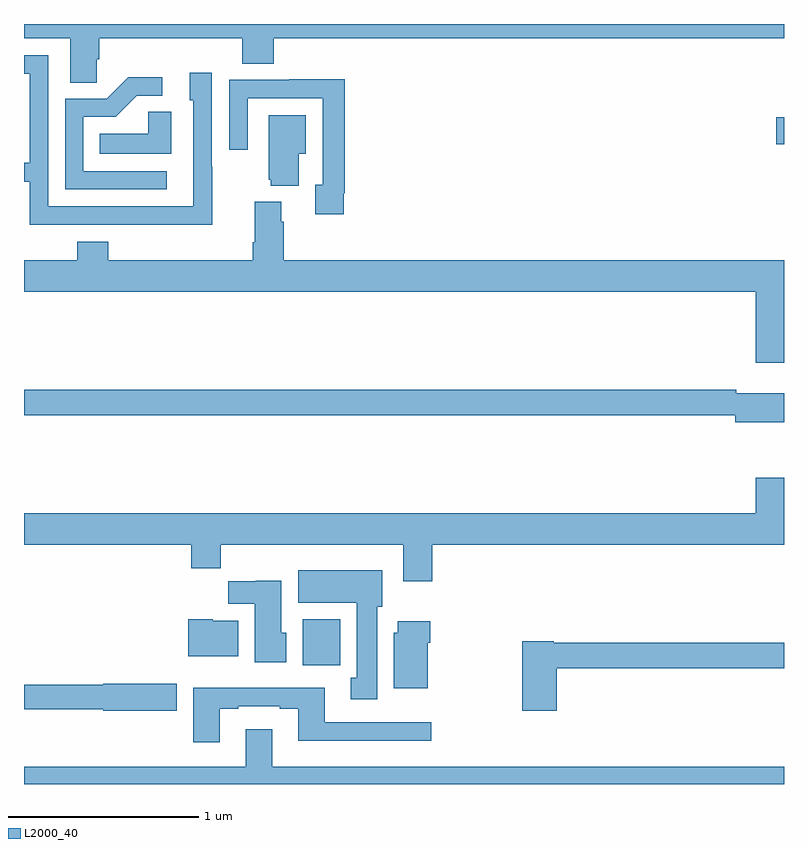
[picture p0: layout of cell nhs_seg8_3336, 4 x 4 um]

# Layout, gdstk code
import gdstk
lib = gdstk.Library(unit=1e-6, precision=1e-09)
def R(c, l, rs):  # rectangles x0, y0, x1, y1
    for r in rs: c.add(gdstk.rectangle(r[:2], r[2:], *l))
def P(c, l, *ps):  # polygons
    for p in ps: c.add(gdstk.Polygon(p, *l))
L2000_40 = (2000, 40)

nhs_seg8_3336 = lib.new_cell('nhs_seg8_3336')
R(nhs_seg8_3336, L2000_40, [(318.467,1122.524,318.664,1122.766), (320.958,1125.266,321,1125.408)])
P(nhs_seg8_3336, L2000_40, [(317.382,1125.715),(317.396,1125.715),(317.396,1125.824),(318.149,1125.824),(318.149,1125.691),(318.314,1125.691),(318.314,1125.824),(321,1125.824),(321,1125.9),(317,1125.9),(317,1125.824),(317.243,1125.824),(317.243,1125.592),(317.382,1125.592)],
  [(317.991,1125.149),(317.988,1125.149),(317.988,1125.643),(317.873,1125.643),(317.873,1125.498),(317.892,1125.498),(317.892,1124.94),(317.127,1124.94),(317.127,1125.735),(317,1125.735),(317,1125.639),(317.031,1125.639),(317.031,1125.17),(317,1125.17),(317,1125.069),(317.031,1125.069),(317.031,1124.844),(317.527,1124.844),(317.527,1124.843),(317.991,1124.843)],
  [(317.752,1125.126),(317.313,1125.126),(317.313,1125.411),(317.482,1125.411),(317.593,1125.522),(317.728,1125.522),(317.728,1125.62),(317.549,1125.62),(317.436,1125.507),(317.217,1125.507),(317.217,1125.03),(317.752,1125.03)],
  [(318.682,1125.01),(318.689,1125.01),(318.689,1125.608),(318.397,1125.608),(318.397,1125.606),(318.081,1125.606),(318.081,1125.237),(318.177,1125.237),(318.177,1125.51),(318.573,1125.51),(318.573,1125.054),(318.533,1125.054),(318.533,1124.898),(318.682,1124.898)],
  [(317.776,1125.437),(317.655,1125.437),(317.655,1125.322),(317.398,1125.322),(317.398,1125.218),(317.776,1125.218)],
  [(318.445,1125.218),(318.484,1125.218),(318.484,1125.421),(318.287,1125.421),(318.287,1125.081),(318.299,1125.081),(318.299,1125.05),(318.445,1125.05)],
  [(318.215,1124.965),(318.215,1124.752),(318.203,1124.752),(318.203,1124.656),(317.444,1124.656),(317.444,1124.755),(317.279,1124.755),(317.279,1124.656),(317,1124.656),(317,1124.492),(320.852,1124.492),(320.852,1124.118),(321,1124.118),(321,1124.656),(318.368,1124.656),(318.368,1124.858),(318.355,1124.858),(318.355,1124.965)],
  [(321,1123.957),(320.748,1123.957),(320.748,1123.976),(317,1123.976),(317,1123.84),(320.744,1123.84),(320.744,1123.805),(321,1123.805)],
  [(319.148,1123.16),(321,1123.16),(321,1123.513),(320.852,1123.513),(320.852,1123.324),(317,1123.324),(317,1123.16),(317.879,1123.16),(317.879,1123.036),(318.035,1123.036),(318.035,1123.16),(318.995,1123.16),(318.995,1122.966),(319.148,1122.966)],
  [(318.859,1122.834),(318.886,1122.834),(318.886,1123.024),(318.443,1123.024),(318.443,1122.854),(318.752,1122.854),(318.752,1122.458),(318.719,1122.458),(318.719,1122.345),(318.859,1122.345)],
  [(318.379,1122.696),(318.355,1122.696),(318.355,1122.97),(318.219,1122.97),(318.219,1122.966),(318.076,1122.966),(318.076,1122.848),(318.215,1122.848),(318.215,1122.542),(318.379,1122.542)],
  [(318.127,1122.76),(317.994,1122.76),(317.994,1122.766),(317.864,1122.766),(317.864,1122.572),(318.127,1122.572)],
  [(319.126,1122.644),(319.139,1122.644),(319.139,1122.757),(318.968,1122.757),(318.968,1122.696),(318.947,1122.696),(318.947,1122.404),(319.126,1122.404)],
  [(319.805,1122.508),(321,1122.508),(321,1122.644),(319.788,1122.644),(319.788,1122.652),(319.622,1122.652),(319.622,1122.285),(319.805,1122.285)],
  [(317.803,1122.428),(317.418,1122.428),(317.418,1122.422),(317,1122.422),(317,1122.294),(317.418,1122.294),(317.418,1122.286),(317.803,1122.286)],
  [(318.031,1122.297),(318.127,1122.297),(318.127,1122.309),(318.347,1122.309),(318.347,1122.297),(318.443,1122.297),(318.443,1122.128),(319.144,1122.128),(319.144,1122.225),(318.583,1122.225),(318.583,1122.406),(317.891,1122.406),(317.891,1122.12),(318.031,1122.12)],
  [(321,1121.992),(318.307,1121.992),(318.307,1122.187),(318.167,1122.187),(318.167,1121.992),(317,1121.992),(317,1121.9),(321,1121.9)])

lib.write_gds('nhs_seg8_3336.gds')
